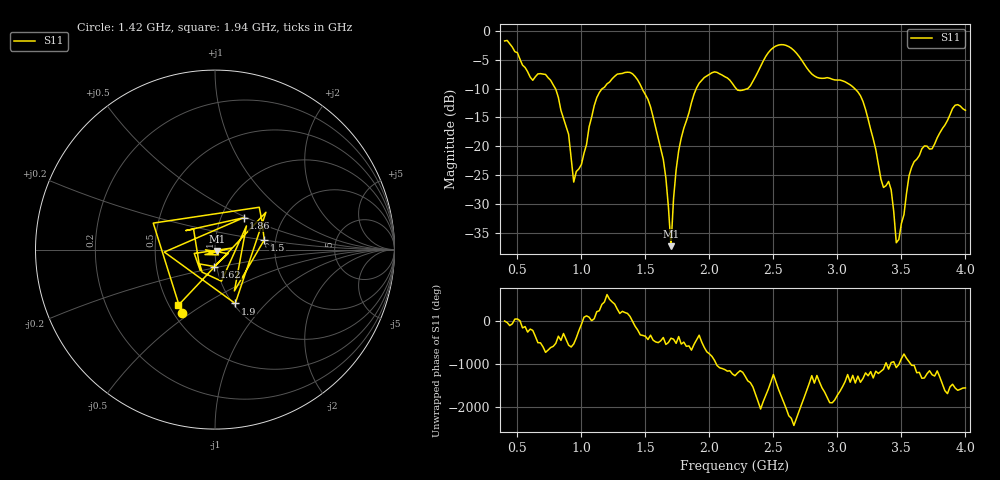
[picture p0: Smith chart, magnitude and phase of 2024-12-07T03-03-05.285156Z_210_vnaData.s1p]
!Created with skrf (http://scikit-rf.org).
# Hz S RI R 50.0
!freq ReS11 ImS11
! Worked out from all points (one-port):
!   181 points, 400 MHz to 4 GHz, reference 50 ohm
!   lowest |S11| = -37.4 dB at 1.7 GHz (marker M1), VSWR 1.03, Z = 51.1 - j0.764 ohm
!   |S11| at or under -10 dB: 796.6 MHz to 1.165 GHz (368.4 MHz wide, 37.6 % of centre); 1.474 GHz to 1.898 GHz (423.9 MHz wide, 25.1 % of centre); 3.134 GHz to end of sweep (the widest 3 of 4)
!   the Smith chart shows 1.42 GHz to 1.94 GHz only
!   S11 on the Smith chart (normalised r, x): 1.42 GHz: 0.55, -0.46; 1.5 GHz: 1.74, +0.20; 1.62 GHz: 0.97, -0.19; 1.86 GHz: 1.28, +0.48; 1.9 GHz: 1.02, -0.68; 1.94 GHz: 0.56, -0.40
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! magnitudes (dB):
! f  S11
! 400 MHz  -1.7
! 760 MHz  -8.6
! 860 MHz  -15.2
! 900 MHz  -18.0
! 940 MHz  -26.2
! 1.12 GHz  -11.6
! 1.3 GHz  -7.4
! 1.42 GHz  -7.9
! 1.5 GHz  -11.1
! 1.62 GHz  -20.5
! 1.66 GHz  -25.5
! 1.7 GHz  -37.4
! 1.72 GHz  -29.1
! 1.76 GHz  -20.8
! 1.86 GHz  -12.5
! 1.9 GHz  -9.9
! 1.94 GHz  -8.6
! 2.2 GHz  -9.8
! 2.5 GHz  -2.9
! 2.66 GHz  -3.4
! 3.1 GHz  -9.4
! 3.2 GHz  -12.2
! 3.36 GHz  -27.2
! 3.42 GHz  -27.6
! 3.46 GHz  -36.8
! 3.56 GHz  -25.1
! 3.92 GHz  -12.9
! 4 GHz  -13.8
